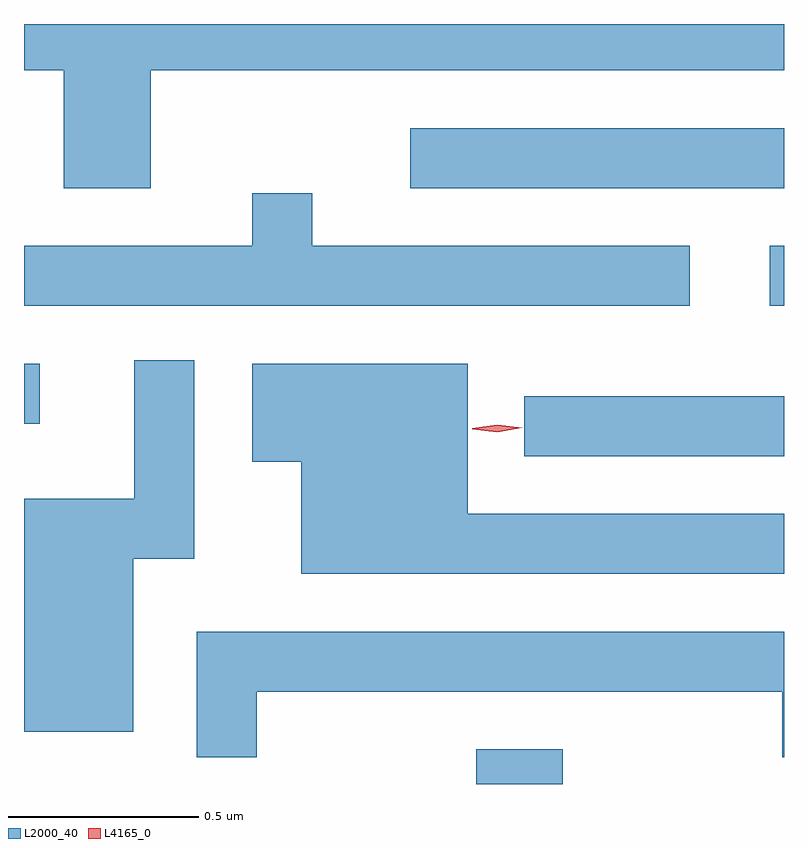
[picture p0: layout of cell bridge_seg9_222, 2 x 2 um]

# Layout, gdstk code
import gdstk
lib = gdstk.Library(unit=1e-6, precision=1e-09)
def R(c, l, rs):  # rectangles x0, y0, x1, y1
    for r in rs: c.add(gdstk.rectangle(r[:2], r[2:], *l))
def P(c, l, *ps):  # polygons
    for p in ps: c.add(gdstk.Polygon(p, *l))
L2000_40 = (2000, 40)
L4165_0 = (4165, 0)

bridge_seg9_222 = lib.new_cell('bridge_seg9_222')
R(bridge_seg9_222, L2000_40, [(1284.316,1949.978,1284.544,1950.069), (1284.443,1950.841,1285.126,1950.999), (1283.126,1950.926,1283.168,1951.084), (1285.088,1951.236,1285.126,1951.394), (1284.143,1951.546,1285.126,1951.704)])
P(bridge_seg9_222, L2000_40, [(1283.459,1951.856),(1285.126,1951.856),(1285.126,1951.978),(1283.126,1951.978),(1283.126,1951.856),(1283.231,1951.856),(1283.231,1951.546),(1283.459,1951.546)],
  [(1284.878,1951.394),(1283.884,1951.394),(1283.884,1951.533),(1283.726,1951.533),(1283.726,1951.394),(1283.126,1951.394),(1283.126,1951.236),(1284.878,1951.236)],
  [(1283.414,1950.571),(1283.574,1950.571),(1283.574,1951.093),(1283.416,1951.093),(1283.416,1950.729),(1283.126,1950.729),(1283.126,1950.116),(1283.414,1950.116)],
  [(1285.126,1950.689),(1284.294,1950.689),(1284.294,1951.084),(1283.726,1951.084),(1283.726,1950.826),(1283.856,1950.826),(1283.856,1950.531),(1285.126,1950.531)],
  [(1283.739,1950.221),(1285.121,1950.221),(1285.121,1950.048),(1285.126,1950.048),(1285.126,1950.379),(1283.581,1950.379),(1283.581,1950.048),(1283.739,1950.048)])
P(bridge_seg9_222, L4165_0, [(1284.371,1950.904),(1284.306,1950.912),(1284.305,1950.913),(1284.306,1950.914),(1284.371,1950.924),(1284.437,1950.916),(1284.437,1950.915),(1284.437,1950.915)])

lib.write_gds('bridge_seg9_222.gds')
